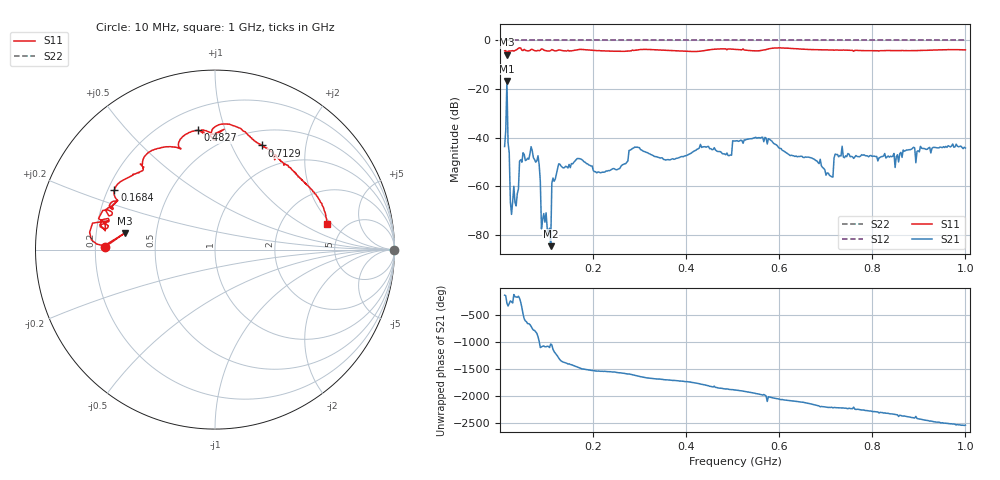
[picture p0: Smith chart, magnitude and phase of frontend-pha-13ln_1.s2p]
! Anritsu VNA Master:  Model: MS2024B
! SN:  2417009
! /card0/usr/frontend-pha-13ln_1.s2p
! Existing Calibration Information:
! TYPE:  Current Settings,  Active Cal Settings
! TIME:  09/08/2026 04:01:26 AM,  09/08/2026 03:52:02 AM
! INTERNAL TEMP:  46.8 C,  46.8 C
! # POINTS:  401,  401
! START FREQ:  10.000 MHz,  10.000 MHz
! STOP FREQ:  1.000 GHz,  1.000 GHz
! SOURCE POWER:  Default,  Default
! IFBW:  1 kHz,  1 kHz
! AVG FACTOR:  16 ,  16
! REF PLANE 1:  0 mm,  0 mm
! REF PLANE 2:  0 mm,  0 mm
! CAL TYPE:  1P2P S11,S21,  1P2P S11,S21
! CAL METHOD:  SOLT,  SOLT
! CAL LINE TYPE:  Coax,  Coax
! DUT PORT 1:  N-Conn(M),  N-Conn(M)
! DUT PORT 2:  N-Conn(M),  N-Conn(M)
! CAL STATUS:  OK: Accuracy High,  --
# GHZ S DB R 50.0
! FREQ.GHZ  S11DB  S11A  S21DB  S21A  S12DB  S12A  S22DB  S22A
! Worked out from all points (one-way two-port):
!   401 points, 10 MHz to 1 GHz, reference 50 ohm
!   highest |S21| = -16.62 dB at 14.95 MHz (marker M1); lowest = -84.6 dB at 109 MHz (marker M2)
!   lowest |S11| = -5.8 dB at 14.95 MHz (marker M3), VSWR 3.09, Z = 16.3 + j4.06 ohm
!   |S11| at or under -10 dB: nowhere
!   |S22| runs from 0.0 to 0.0 dB; largest |S21 - S12| = 1
!   S11 on the Smith chart (normalised r, x): 10 MHz: 0.24, +0.01; 168.4 MHz: 0.23, +0.26; 482.7 MHz: 0.33, +0.81; 712.9 MHz: 0.67, +1.32; 1 GHz: 3.64, +1.77
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0.01  -4.27 178.6  -43.61 -143.1  0.00 0.0  0.00 0.0
0.01495  -5.83 169.6  -16.62 67.3  0.00 0.0  0.00 0.0
0.027325  -4.17 177.5  -66.34 73.4  0.00 0.0  0.00 0.0
0.047125  -3.99 165.5  -50.06 -10.8  0.00 0.0  0.00 0.0
0.0694  -3.67 165.4  -45.39 -37.4  0.00 0.0  0.00 0.0
0.081775  -4.08 165.3  -47.41 172.3  0.00 0.0  0.00 0.0
0.09415  -3.93 159.7  -71.18 1.2  0.00 0.0  0.00 0.0
0.10405  -4.35 160.7  -79.23 -7.1  0.00 0.0  0.00 0.0
0.109  -4.15 162.4  -84.60 38.0  0.00 0.0  0.00 0.0
0.116425  -4.19 157.6  -57.90 -103.2  0.00 0.0  0.00 0.0
0.126325  -3.91 157.4  -50.73 137.6  0.00 0.0  0.00 0.0
0.1684  -3.73 149.5  -48.56 -32.7  0.00 0.0  0.00 0.0
0.175825  -3.69 146.0  -48.97 -58.5  0.00 0.0  0.00 0.0
0.220375  -4.28 136.1  -54.16 -104.3  0.00 0.0  0.00 0.0
0.34165  -3.92 116.2  -48.14 112.9  0.00 0.0  0.00 0.0
0.482725  -3.45 98.2  -46.67 -67.1  0.00 0.0  0.00 0.0
0.505  -3.62 93.5  -41.35 -89.2  0.00 0.0  0.00 0.0
0.670825  -3.76 70.7  -48.41 8.7  0.00 0.0  0.00 0.0
0.7129  -3.91 65.6  -56.08 -46.2  0.00 0.0  0.00 0.0
0.730225  -3.93 62.9  -47.33 -57.7  0.00 0.0  0.00 0.0
0.83665  -4.19 48.5  -47.98 -165.5  0.00 0.0  0.00 0.0
1  -3.87 12.9  -44.26 -15.6  0.00 0.0  0.00 0.0
